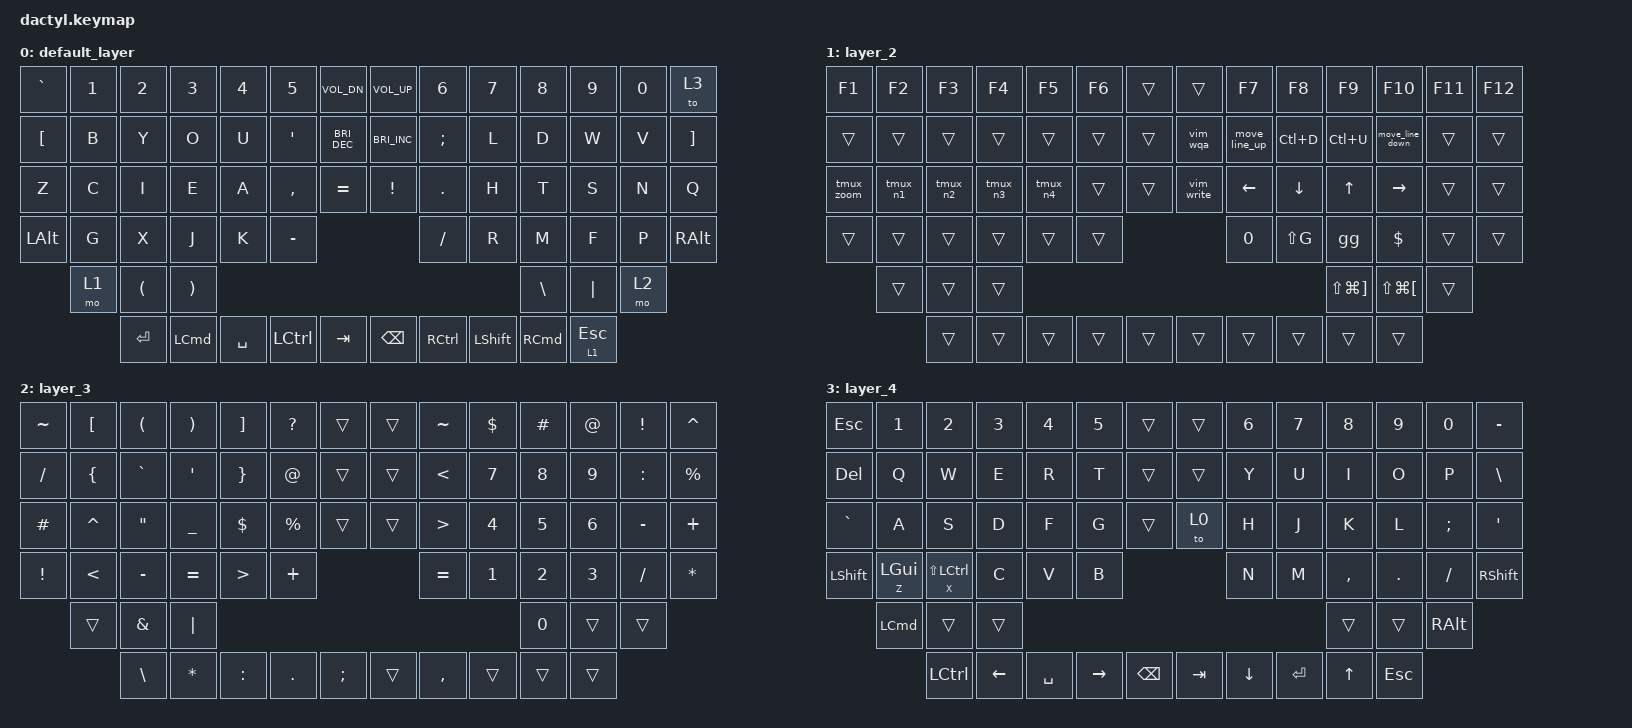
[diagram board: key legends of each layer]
#define ZMK_POINTING_DEFAULT_MOVE_VAL 1500  // default: 600
#define ZMK_POINTING_DEFAULT_SCRL_VAL 20    // default: 10

#include <dt-bindings/zmk/mouse.h>
#include <behaviors.dtsi>
#include <dt-bindings/zmk/keys.h>

#define DEFAULT 0
#define LOWER 1
#define RAISE 2
#define ADJUST 3

/ {
    macros {
        tmux_n1: tmux_n1 {
            compatible = "zmk,behavior-macro";
            #binding-cells = <0>;
            bindings = <&kp LC(A) &kp N1>;
        };

        tmux_n2: tmux_n2 {
            compatible = "zmk,behavior-macro";
            #binding-cells = <0>;
            bindings = <&kp LC(A) &kp N2>;
        };

        tmux_n3: tmux_n3 {
            compatible = "zmk,behavior-macro";
            #binding-cells = <0>;
            bindings = <&kp LC(A) &kp N3>;
        };

        tmux_n4: tmux_n4 {
            compatible = "zmk,behavior-macro";
            #binding-cells = <0>;
            bindings = <&kp LC(A) &kp N4>;
        };

        vim_write: vim_write {
            compatible = "zmk,behavior-macro";
            #binding-cells = <0>;
            bindings = <&kp ESC &kp COLON &kp W &kp ENTER>;
        };

        gg: gg {
            compatible = "zmk,behavior-macro";
            #binding-cells = <0>;
            bindings = <&kp G &kp G>;
        };

        move_line_up: move_line_up {
            compatible = "zmk,behavior-macro";
            #binding-cells = <0>;
            bindings = <&kp V &kp LS(U) &kp ESCAPE>;
            label = "MOVE_LINE_UP";
        };

        move_line_down: move_line_down {
            compatible = "zmk,behavior-macro";
            #binding-cells = <0>;
            bindings = <&kp V &kp LS(D) &kp ESCAPE>;
            label = "MOVE_LINE_DOWN";
        };

        vim_wqa: vim_wqa {
            compatible = "zmk,behavior-macro";
            #binding-cells = <0>;
            bindings = <&kp ESC &kp COLON &kp W &kp Q &kp A &kp ENTER>;
            label = "VIM_WQA";
        };

        tmux_zoom: tmux_zoom {
            compatible = "zmk,behavior-macro";
            #binding-cells = <0>;
            bindings = <&kp LC(A) &kp Z>;
            label = "TMUX_ZOOM";
        };
    };

    keymap {
        compatible = "zmk,keymap";

        default_layer {
            // LEFT HAND                                                      5-WAY SWITCH      RIGHT HAND

            bindings = <
&kp GRAVE  &kp N1  &kp N2                &kp N3                 &kp N4     &kp N5            &kp C_VOL_DN            &kp C_VOLUME_UP       &kp N6             &kp N7          &kp N8             &kp N9        &kp N0  &to 3
&kp LBKT   &kp B   &kp Y                 &kp O                  &kp U      &kp APOS          &kp C_BRIGHTNESS_DEC    &kp C_BRIGHTNESS_INC  &kp SEMI           &kp L           &kp D              &kp W         &kp V   &kp RBKT
&kp Z      &kp C   &kp I                 &kp E                  &kp A      &kp COMMA         &kp EQUAL               &kp EXCL              &kp DOT            &kp H           &kp T              &kp S         &kp N   &kp Q
&kp LALT   &kp G   &kp X                 &kp J                  &kp K      &kp MINUS                                                       &kp SLASH          &kp R           &kp M              &kp F         &kp P   &kp RIGHT_ALT
           &mo 1   &kp LEFT_PARENTHESIS  &kp RIGHT_PARENTHESIS                                                                                                                &kp BACKSLASH      &kp PIPE      &mo 2
                   &kp ENTER             &kp LEFT_COMMAND       &kp SPACE  &kp LEFT_CONTROL  &kp TAB                 &kp BACKSPACE         &kp RIGHT_CONTROL  &kp LEFT_SHIFT  &kp RIGHT_COMMAND  &lt 1 ESCAPE
            >;
        };

        layer_2 {
            bindings = <
&kp F1      &kp F2    &kp F3    &kp F4    &kp F5    &kp F6  &trans    &trans      &kp F7         &kp F8          &kp F9                     &kp F10                   &kp F11  &kp F12
&trans      &trans    &trans    &trans    &trans    &trans  &trans    &vim_wqa    &move_line_up  &kp LC(D)       &kp LC(U)                  &move_line_down           &trans   &trans
&tmux_zoom  &tmux_n1  &tmux_n2  &tmux_n3  &tmux_n4  &trans  &trans    &vim_write  &kp LEFT       &kp DOWN_ARROW  &kp UP_ARROW               &kp RIGHT                 &trans   &trans
&trans      &trans    &trans    &trans    &trans    &trans                        &kp N0         &kp LS(G)       &gg                        &kp DOLLAR                &trans   &trans
            &trans    &trans    &trans                                                                           &kp LS(LG(RIGHT_BRACKET))  &kp LS(LG(LEFT_BRACKET))  &trans
                      &trans    &trans    &trans    &trans  &trans    &trans      &trans         &trans          &trans                     &trans
            >;
        };

        layer_3 {
            bindings = <
&kp TILDE  &kp LEFT_BRACKET  &kp LEFT_PARENTHESIS  &kp RIGHT_PARENTHESIS  &kp RIGHT_BRACKET  &kp QUESTION  &trans      &trans  &kp TILDE         &kp DOLLAR  &kp HASH  &kp AT  &kp EXCL   &kp CARET
&kp SLASH  &kp LEFT_BRACE    &kp GRAVE             &kp SINGLE_QUOTE       &kp RIGHT_BRACE    &kp AT        &trans      &trans  &kp LESS_THAN     &kp N7      &kp N8    &kp N9  &kp COLON  &kp PERCENT
&kp POUND  &kp CARET         &kp DOUBLE_QUOTES     &kp UNDER              &kp DOLLAR         &kp PERCENT   &trans      &trans  &kp GREATER_THAN  &kp N4      &kp N5    &kp N6  &kp MINUS  &kp PLUS
&kp EXCL   &kp LESS_THAN     &kp MINUS             &kp EQUAL              &kp GREATER_THAN   &kp PLUS                          &kp EQUAL         &kp N1      &kp N2    &kp N3  &kp SLASH  &kp ASTRK
           &trans            &kp AMPERSAND         &kp PIPE                                                                                                  &kp N0    &trans  &trans
                             &kp BACKSLASH         &kp ASTERISK           &kp COLON          &kp PERIOD    &kp SEMI    &trans  &kp COMMA         &trans      &trans    &trans
            >;
        };

        layer_4 {
            bindings = <
&kp ESC     &kp N1            &kp N2                  &kp N3    &kp N4     &kp N5     &trans      &trans   &kp N6          &kp N7     &kp N8        &kp N9   &kp N0         &kp MINUS
&kp DELETE  &kp Q             &kp W                   &kp E     &kp R      &kp T      &trans      &trans   &kp Y           &kp U      &kp I         &kp O    &kp P          &kp BSLH
&kp GRAVE   &kp A             &kp S                   &kp D     &kp F      &kp G      &trans      &to 0    &kp H           &kp J      &kp K         &kp L    &kp SEMI       &kp APOS
&kp LSHFT   &mt Z LEFT_GUI    &mt X LS(LEFT_CONTROL)  &kp C     &kp V      &kp B                           &kp N           &kp M      &kp COMMA     &kp DOT  &kp FSLH       &kp RSHFT
            &kp LEFT_COMMAND  &trans                  &trans                                                                          &trans        &trans   &kp RIGHT_ALT
                              &kp LEFT_CONTROL        &kp LEFT  &kp SPACE  &kp RIGHT  &kp BSPC    &kp TAB  &kp DOWN_ARROW  &kp ENTER  &kp UP_ARROW  &kp ESC
            >;
        };
    };
};
